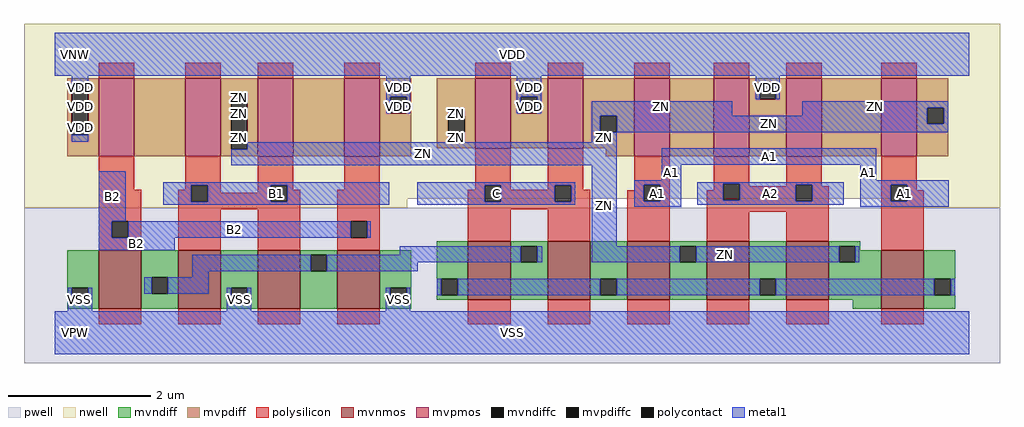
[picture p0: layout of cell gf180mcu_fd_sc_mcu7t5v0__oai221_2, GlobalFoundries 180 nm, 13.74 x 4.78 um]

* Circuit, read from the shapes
.subckt gf180mcu_fd_sc_mcu7t5v0__oai221_2 A1 A2 B1 B2 C ZN VDD VNW VPW VSS
XM1 n1 B2 VSS VPW nfet_06v0 w=0.82u l=0.6u m=2
XM2 VSS B1 n1 VPW nfet_06v0 w=0.82u l=0.6u m=2
XM3 n1 C n2 VPW nfet_06v0 w=0.82u l=0.6u m=2
XM4 ZN A1 n2 VPW nfet_06v0 w=0.82u l=0.6u m=2
XM5 n2 A2 ZN VPW nfet_06v0 w=0.82u l=0.6u m=2
XM6 n3 B2 VDD VNW pfet_06v0 w=1.095u l=0.5u
XM7 ZN B1 n3 VNW pfet_06v0 w=1.095u l=0.5u
XM8 n4 B1 ZN VNW pfet_06v0 w=1.095u l=0.5u
XM9 VDD B2 n4 VNW pfet_06v0 w=1.095u l=0.5u
XM10 VDD C ZN VNW pfet_06v0 w=0.985u l=0.5u m=2
XM11 n5 A1 ZN VNW pfet_06v0 w=1.095u l=0.5u
XM12 VDD A2 n5 VNW pfet_06v0 w=1.095u l=0.5u
XM13 n6 A2 VDD VNW pfet_06v0 w=1.095u l=0.5u
XM14 ZN A1 n6 VNW pfet_06v0 w=1.095u l=0.5u
.ends

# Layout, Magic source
magic
tech gf180mcuD
magscale 1 10
<< nwell >>
rect -86 377 2662 870
rect -86 352 993 377
rect 2356 352 2662 377
<< pwell >>
rect -86 -86 2662 352
<< mvnmos >>
rect 124 68 244 232
rect 348 68 468 232
rect 572 68 692 232
rect 796 68 916 232
rect 1164 93 1284 257
rect 1388 93 1508 257
rect 1612 93 1732 257
rect 1836 93 1956 257
rect 2060 93 2180 257
rect 2328 68 2448 232
<< mvpmos >>
rect 124 497 224 716
rect 368 497 468 716
rect 572 497 672 716
rect 816 497 916 716
rect 1184 519 1284 716
rect 1388 519 1488 716
rect 1632 497 1732 716
rect 1856 497 1956 716
rect 2060 497 2160 716
rect 2328 497 2428 716
<< mvndiff >>
rect 36 127 124 232
rect 36 81 49 127
rect 95 81 124 127
rect 36 68 124 81
rect 244 156 348 232
rect 244 110 273 156
rect 319 110 348 156
rect 244 68 348 110
rect 468 127 572 232
rect 468 81 497 127
rect 543 81 572 127
rect 468 68 572 81
rect 692 219 796 232
rect 692 173 721 219
rect 767 173 796 219
rect 692 68 796 173
rect 916 127 1004 232
rect 916 81 945 127
rect 991 81 1004 127
rect 1076 152 1164 257
rect 1076 106 1089 152
rect 1135 106 1164 152
rect 1076 93 1164 106
rect 1284 244 1388 257
rect 1284 198 1313 244
rect 1359 198 1388 244
rect 1284 93 1388 198
rect 1508 152 1612 257
rect 1508 106 1537 152
rect 1583 106 1612 152
rect 1508 93 1612 106
rect 1732 244 1836 257
rect 1732 198 1761 244
rect 1807 198 1836 244
rect 1732 93 1836 198
rect 1956 152 2060 257
rect 1956 106 1985 152
rect 2031 106 2060 152
rect 1956 93 2060 106
rect 2180 244 2268 257
rect 2180 198 2209 244
rect 2255 232 2268 244
rect 2255 198 2328 232
rect 2180 93 2328 198
rect 916 68 1004 81
rect 2248 68 2328 93
rect 2448 152 2536 232
rect 2448 106 2477 152
rect 2523 106 2536 152
rect 2448 68 2536 106
<< mvpdiff >>
rect 36 697 124 716
rect 36 557 49 697
rect 95 557 124 697
rect 36 497 124 557
rect 224 497 368 716
rect 468 656 572 716
rect 468 516 497 656
rect 543 516 572 656
rect 468 497 572 516
rect 672 497 816 716
rect 916 664 1004 716
rect 916 618 945 664
rect 991 618 1004 664
rect 916 497 1004 618
rect 1076 611 1184 716
rect 1076 565 1109 611
rect 1155 565 1184 611
rect 1076 519 1184 565
rect 1284 664 1388 716
rect 1284 618 1313 664
rect 1359 618 1388 664
rect 1284 519 1388 618
rect 1488 611 1632 716
rect 1488 565 1537 611
rect 1583 565 1632 611
rect 1488 519 1632 565
rect 1552 497 1632 519
rect 1732 497 1856 716
rect 1956 703 2060 716
rect 1956 657 1985 703
rect 2031 657 2060 703
rect 1956 497 2060 657
rect 2160 497 2328 716
rect 2428 634 2516 716
rect 2428 588 2457 634
rect 2503 588 2516 634
rect 2428 497 2516 588
<< mvndiffc >>
rect 49 81 95 127
rect 273 110 319 156
rect 497 81 543 127
rect 721 173 767 219
rect 945 81 991 127
rect 1089 106 1135 152
rect 1313 198 1359 244
rect 1537 106 1583 152
rect 1761 198 1807 244
rect 1985 106 2031 152
rect 2209 198 2255 244
rect 2477 106 2523 152
<< mvpdiffc >>
rect 49 557 95 697
rect 497 516 543 656
rect 945 618 991 664
rect 1109 565 1155 611
rect 1313 618 1359 664
rect 1537 565 1583 611
rect 1985 657 2031 703
rect 2457 588 2503 634
<< polysilicon >>
rect 124 716 224 760
rect 368 716 468 760
rect 572 716 672 760
rect 816 716 916 760
rect 1184 716 1284 760
rect 1388 716 1488 760
rect 1632 716 1732 760
rect 1856 716 1956 760
rect 2060 716 2160 760
rect 2328 716 2428 760
rect 124 402 224 497
rect 368 415 468 497
rect 368 402 385 415
rect 124 314 244 402
rect 124 268 161 314
rect 207 268 244 314
rect 124 232 244 268
rect 348 369 385 402
rect 431 394 468 415
rect 572 415 672 497
rect 572 394 609 415
rect 431 369 609 394
rect 655 402 672 415
rect 816 402 916 497
rect 1184 415 1284 519
rect 1184 402 1211 415
rect 655 369 692 402
rect 348 348 692 369
rect 348 232 468 348
rect 572 232 692 348
rect 796 314 916 402
rect 796 268 834 314
rect 880 268 916 314
rect 796 232 916 268
rect 1164 369 1211 402
rect 1257 402 1284 415
rect 1388 415 1488 519
rect 1388 402 1409 415
rect 1257 369 1409 402
rect 1455 402 1488 415
rect 1632 416 1732 497
rect 1455 369 1508 402
rect 1632 401 1659 416
rect 1164 348 1508 369
rect 1164 257 1284 348
rect 1388 257 1508 348
rect 1612 370 1659 401
rect 1705 370 1732 416
rect 1856 419 1956 497
rect 1856 401 1883 419
rect 1612 257 1732 370
rect 1836 373 1883 401
rect 1929 412 1956 419
rect 2060 416 2160 497
rect 2060 412 2087 416
rect 1929 373 2087 412
rect 1836 370 2087 373
rect 2133 412 2160 416
rect 2328 416 2428 497
rect 2133 370 2180 412
rect 1836 340 2180 370
rect 1836 257 1956 340
rect 2060 257 2180 340
rect 2328 370 2355 416
rect 2401 401 2428 416
rect 2401 370 2448 401
rect 2328 232 2448 370
rect 124 24 244 68
rect 348 24 468 68
rect 572 24 692 68
rect 796 24 916 68
rect 1164 24 1284 93
rect 1388 24 1508 93
rect 1612 24 1732 93
rect 1836 24 1956 93
rect 2060 24 2180 93
rect 2328 24 2448 68
<< polycontact >>
rect 161 268 207 314
rect 385 369 431 415
rect 609 369 655 415
rect 834 268 880 314
rect 1211 369 1257 415
rect 1409 369 1455 415
rect 1659 370 1705 416
rect 1883 373 1929 419
rect 2087 370 2133 416
rect 2355 370 2401 416
<< metal1 >>
rect 0 724 2576 844
rect 49 697 95 724
rect 49 538 95 557
rect 497 656 543 675
rect 934 664 1002 724
rect 934 618 945 664
rect 991 618 1002 664
rect 1302 664 1370 724
rect 1109 611 1155 622
rect 1302 618 1313 664
rect 1359 618 1370 664
rect 1974 703 2042 724
rect 1974 657 1985 703
rect 2031 657 2042 703
rect 1109 536 1155 565
rect 1512 611 1908 652
rect 2105 634 2516 652
rect 2105 611 2457 634
rect 1512 565 1537 611
rect 1583 588 2457 611
rect 2503 588 2516 634
rect 1583 565 2516 588
rect 1512 536 1583 565
rect 543 516 1583 536
rect 497 472 1583 516
rect 125 314 200 455
rect 306 415 942 424
rect 306 369 385 415
rect 431 369 609 415
rect 655 369 942 415
rect 306 360 942 369
rect 1021 415 1466 424
rect 1021 369 1211 415
rect 1257 369 1409 415
rect 1455 369 1466 415
rect 1021 360 1466 369
rect 125 268 161 314
rect 207 268 834 314
rect 880 268 891 314
rect 125 232 338 268
rect 1512 244 1583 472
rect 1710 473 2314 519
rect 1710 430 1764 473
rect 1632 416 1764 430
rect 2268 430 2314 473
rect 1632 370 1659 416
rect 1705 370 1764 416
rect 1632 354 1764 370
rect 1810 419 2222 424
rect 1810 373 1883 419
rect 1929 416 2222 419
rect 1929 373 2087 416
rect 1810 370 2087 373
rect 2133 370 2222 416
rect 1810 360 2222 370
rect 2268 416 2518 430
rect 2268 370 2355 416
rect 2401 370 2518 416
rect 2268 354 2518 370
rect 972 219 1313 244
rect 388 173 721 219
rect 767 198 1313 219
rect 1359 198 1373 244
rect 1512 198 1761 244
rect 1807 198 2209 244
rect 2255 198 2266 244
rect 767 173 1022 198
rect 388 156 434 173
rect 37 81 49 127
rect 95 81 106 127
rect 252 110 273 156
rect 319 110 434 156
rect 37 60 106 81
rect 485 81 497 127
rect 543 81 554 127
rect 485 60 554 81
rect 933 81 945 127
rect 991 81 1002 127
rect 1076 106 1089 152
rect 1135 106 1537 152
rect 1583 106 1985 152
rect 2031 106 2477 152
rect 2523 106 2536 152
rect 933 60 1002 81
rect 0 -60 2576 60
<< labels >>
flabel metal1 s 1810 360 2222 424 0 FreeSans 400 0 0 0 A2
port 2 nsew default input
flabel metal1 s 1710 473 2314 519 0 FreeSans 400 0 0 0 A1
port 1 nsew default input
flabel metal1 s 306 360 942 424 0 FreeSans 400 0 0 0 B1
port 3 nsew default input
flabel metal1 s 1021 360 1466 424 0 FreeSans 400 0 0 0 C
port 5 nsew default input
flabel metal1 s 125 314 200 455 0 FreeSans 400 0 0 0 B2
port 4 nsew default input
flabel metal1 s 497 652 543 675 0 FreeSans 400 0 0 0 ZN
port 6 nsew default output
flabel metal1 s 933 60 1002 127 0 FreeSans 400 0 0 0 VSS
port 10 nsew ground bidirectional abutment
flabel metal1 s 0 724 2576 844 0 FreeSans 400 0 0 0 VDD
port 7 nsew power bidirectional abutment
flabel nwell s 10 734 110 834 0 FreeSans 400 0 0 0 VNW
port 8 nsew power bidirectional
flabel pwell s 10 -50 110 50 0 FreeSans 400 0 0 0 VPW
port 9 nsew ground bidirectional
rlabel metal1 s 2268 430 2314 473 1 A1
port 1 nsew default input
rlabel metal1 s 1710 430 1764 473 1 A1
port 1 nsew default input
rlabel metal1 s 2268 354 2518 430 1 A1
port 1 nsew default input
rlabel metal1 s 1632 354 1764 430 1 A1
port 1 nsew default input
rlabel metal1 s 125 268 891 314 1 B2
port 4 nsew default input
rlabel metal1 s 125 232 338 268 1 B2
port 4 nsew default input
rlabel metal1 s 2105 622 2516 652 1 ZN
port 6 nsew default output
rlabel metal1 s 1512 622 1908 652 1 ZN
port 6 nsew default output
rlabel metal1 s 497 622 543 652 1 ZN
port 6 nsew default output
rlabel metal1 s 2105 611 2516 622 1 ZN
port 6 nsew default output
rlabel metal1 s 1512 611 1908 622 1 ZN
port 6 nsew default output
rlabel metal1 s 1109 611 1155 622 1 ZN
port 6 nsew default output
rlabel metal1 s 497 611 543 622 1 ZN
port 6 nsew default output
rlabel metal1 s 1512 565 2516 611 1 ZN
port 6 nsew default output
rlabel metal1 s 1109 565 1155 611 1 ZN
port 6 nsew default output
rlabel metal1 s 497 565 543 611 1 ZN
port 6 nsew default output
rlabel metal1 s 1512 536 1583 565 1 ZN
port 6 nsew default output
rlabel metal1 s 1109 536 1155 565 1 ZN
port 6 nsew default output
rlabel metal1 s 497 536 543 565 1 ZN
port 6 nsew default output
rlabel metal1 s 497 472 1583 536 1 ZN
port 6 nsew default output
rlabel metal1 s 1512 244 1583 472 1 ZN
port 6 nsew default output
rlabel metal1 s 1512 198 2266 244 1 ZN
port 6 nsew default output
rlabel metal1 s 1974 657 2042 724 1 VDD
port 7 nsew power bidirectional abutment
rlabel metal1 s 1302 657 1370 724 1 VDD
port 7 nsew power bidirectional abutment
rlabel metal1 s 934 657 1002 724 1 VDD
port 7 nsew power bidirectional abutment
rlabel metal1 s 49 657 95 724 1 VDD
port 7 nsew power bidirectional abutment
rlabel metal1 s 1302 618 1370 657 1 VDD
port 7 nsew power bidirectional abutment
rlabel metal1 s 934 618 1002 657 1 VDD
port 7 nsew power bidirectional abutment
rlabel metal1 s 49 618 95 657 1 VDD
port 7 nsew power bidirectional abutment
rlabel metal1 s 49 538 95 618 1 VDD
port 7 nsew power bidirectional abutment
rlabel metal1 s 485 60 554 127 1 VSS
port 10 nsew ground bidirectional abutment
rlabel metal1 s 37 60 106 127 1 VSS
port 10 nsew ground bidirectional abutment
rlabel metal1 s 0 -60 2576 60 1 VSS
port 10 nsew ground bidirectional abutment
<< properties >>
string FIXED_BBOX 0 0 2576 784
string GDS_END 114642
string GDS_FILE $PDKPATH/libs.ref/gf180mcu_fd_sc_mcu7t5v0/gds/gf180mcu_fd_sc_mcu7t5v0.gds
string GDS_START 108886
string LEFclass core
string LEFsite GF018hv5v_mcu_sc7
string LEFsymmetry X Y
<< end >>
